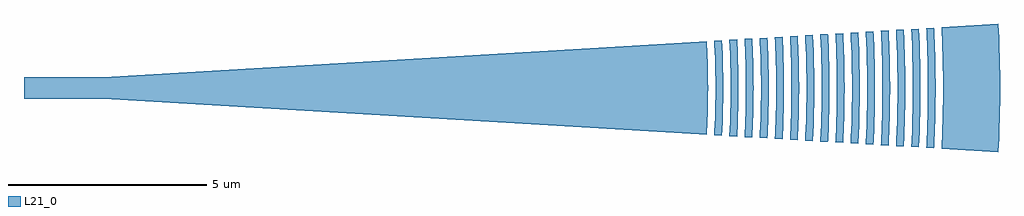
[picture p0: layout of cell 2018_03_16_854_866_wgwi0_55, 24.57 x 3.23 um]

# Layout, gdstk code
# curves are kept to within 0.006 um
import gdstk
lib = gdstk.Library(unit=1e-6, precision=1e-09)
def P(c, l, *ps):  # polygons
    for p in ps: c.add(gdstk.Polygon(p, *l))
L21_0 = (21, 0)

arc_gapfill_2 = lib.new_cell('arc_gapfill_2')

arc_gapfill_20 = lib.new_cell('arc_gapfill_20')

taper_1 = lib.new_cell('taper_1')

taper_19 = lib.new_cell('taper_19')

arc_10 = lib.new_cell('arc_10')

arc_11 = lib.new_cell('arc_11')

arc_12 = lib.new_cell('arc_12')

arc_13 = lib.new_cell('arc_13')

arc_14 = lib.new_cell('arc_14')

arc_15 = lib.new_cell('arc_15')

arc_16 = lib.new_cell('arc_16')

arc_17 = lib.new_cell('arc_17')

arc_18 = lib.new_cell('arc_18')

arc_3 = lib.new_cell('arc_3')

arc_4 = lib.new_cell('arc_4')

arc_5 = lib.new_cell('arc_5')

arc_6 = lib.new_cell('arc_6')

arc_7 = lib.new_cell('arc_7')

arc_8 = lib.new_cell('arc_8')

arc_9 = lib.new_cell('arc_9')

focusing_coupler_5th_lin = lib.new_cell('focusing_coupler_5th_linrads_0')
focusing_coupler_5th_lin.add(gdstk.Reference(arc_gapfill_2, (15,0)))
focusing_coupler_5th_lin.add(gdstk.Reference(arc_gapfill_20, (22.532,0)))
focusing_coupler_5th_lin.add(gdstk.Reference(taper_1, (0,0)))
focusing_coupler_5th_lin.add(gdstk.Reference(taper_19, (0,0)))
focusing_coupler_5th_lin.add(gdstk.Reference(arc_10, (17.737,0)))
focusing_coupler_5th_lin.add(gdstk.Reference(arc_11, (18.119,0)))
focusing_coupler_5th_lin.add(gdstk.Reference(arc_12, (18.501,0)))
focusing_coupler_5th_lin.add(gdstk.Reference(arc_13, (18.883,0)))
focusing_coupler_5th_lin.add(gdstk.Reference(arc_14, (19.266,0)))
focusing_coupler_5th_lin.add(gdstk.Reference(arc_15, (19.648,0)))
focusing_coupler_5th_lin.add(gdstk.Reference(arc_16, (20.03,0)))
focusing_coupler_5th_lin.add(gdstk.Reference(arc_17, (20.412,0)))
focusing_coupler_5th_lin.add(gdstk.Reference(arc_18, (20.794,0)))
focusing_coupler_5th_lin.add(gdstk.Reference(arc_3, (15.059,0)))
focusing_coupler_5th_lin.add(gdstk.Reference(arc_4, (15.441,0)))
focusing_coupler_5th_lin.add(gdstk.Reference(arc_5, (15.824,0)))
focusing_coupler_5th_lin.add(gdstk.Reference(arc_6, (16.207,0)))
focusing_coupler_5th_lin.add(gdstk.Reference(arc_7, (16.589,0)))
focusing_coupler_5th_lin.add(gdstk.Reference(arc_8, (16.972,0)))
focusing_coupler_5th_lin.add(gdstk.Reference(arc_9, (17.354,0)))

c_2018_03_16_854_866_wgwi0 = lib.new_cell('2018_03_16_854_866_wgwi0_55')
P(c_2018_03_16_854_866_wgwi0, L21_0, [(-2,0.275),(0,0.275),(15.191,1.177),(15.212,0.7),(15.223,0.075),(15.215,-0.592),(15.191,-1.177),(0,-0.275),(-2,-0.275)],
  [(15.383,-1.152),(15.406,-0.592),(15.414,0.075),(15.403,0.7),(15.381,1.189),(15.572,1.2),(15.597,0.576),(15.604,0.12),(15.597,-0.576),(15.572,-1.2),(15.381,-1.189)],
  [(15.763,-1.206),(15.788,-0.576),(15.795,-0.12),(15.788,0.576),(15.763,1.211),(15.954,1.223),(15.986,0.165),(15.979,-0.582),(15.954,-1.223)],
  [(16.149,-1.13),(16.174,-0.406),(16.177,0.165),(16.163,0.823),(16.144,1.234),(16.335,1.245),(16.36,0.654),(16.369,0.055),(16.36,-0.654),(16.338,-1.207),(16.335,-1.245),(16.144,-1.234)],
  [(16.527,-1.23),(16.551,-0.654),(16.56,0.055),(16.551,0.654),(16.526,1.257),(16.717,1.268),(16.742,0.637),(16.75,0.145),(16.742,-0.637),(16.717,-1.268),(16.526,-1.257)],
  [(16.913,-1.152),(16.937,-0.458),(16.941,0.145),(16.929,0.772),(16.907,1.28),(17.098,1.291),(17.122,0.734),(17.132,0.214),(17.129,-0.44),(17.101,-1.253),(17.098,-1.291),(16.907,-1.28)],
  [(17.29,-1.275),(17.318,-0.531),(17.323,0.214),(17.313,0.734),(17.289,1.302),(17.48,1.314),(17.504,0.718),(17.514,0.148),(17.506,-0.649),(17.48,-1.314),(17.289,-1.302)],
  [(17.675,-1.219),(17.7,-0.513),(17.705,0.148),(17.691,0.854),(17.67,1.325),(17.862,1.336),(17.888,0.678),(17.897,0.057),(17.888,-0.678),(17.862,-1.336),(17.67,-1.325)],
  [(18.052,-1.345),(18.079,-0.678),(18.088,-0.057),(18.079,0.678),(18.052,1.348),(18.243,1.359),(18.265,0.847),(18.278,0.174),(18.272,-0.592),(18.243,-1.359)],
  [(18.436,-1.311),(18.463,-0.592),(18.469,0.174),(18.456,0.847),(18.433,1.37),(18.625,1.382),(18.652,0.667),(18.66,0.129),(18.652,-0.667),(18.625,-1.382),(18.433,-1.37)],
  [(18.82,-1.276),(18.843,-0.667),(18.851,0.129),(18.841,0.738),(18.815,1.393),(19.005,1.404),(19.033,0.697),(19.042,0.035),(19.033,-0.697),(19.007,-1.382),(19.005,-1.404),(18.815,-1.393)],
  [(19.196,-1.406),(19.224,-0.697),(19.233,-0.035),(19.224,0.697),(19.196,1.416),(19.388,1.427),(19.414,0.775),(19.424,0.203),(19.417,-0.655),(19.388,-1.427),(19.196,-1.416)],
  [(19.58,-1.394),(19.608,-0.655),(19.615,0.203),(19.605,0.775),(19.578,1.438),(19.769,1.45),(19.795,0.806),(19.806,0.156),(19.797,-0.733),(19.769,-1.45),(19.578,-1.438)],
  [(19.96,-1.455),(19.986,-0.806),(19.997,-0.156),(19.988,0.733),(19.96,1.461),(20.151,1.472),(20.174,0.91),(20.188,0.133),(20.18,-0.691),(20.151,-1.472)],
  [(20.342,-1.467),(20.371,-0.691),(20.379,0.133),(20.365,0.91),(20.341,1.484),(20.531,1.495),(20.558,0.844),(20.57,0.086),(20.563,-0.648),(20.534,-1.456),(20.531,-1.495),(20.341,-1.484)],
  [(20.723,-1.48),(20.754,-0.648),(20.761,0.086),(20.749,0.844),(20.722,1.506),(20.913,1.518),(20.943,0.728),(20.952,0.037),(20.943,-0.728),(20.913,-1.518),(20.722,-1.506)],
  [(21.105,-1.493),(21.134,-0.728),(21.143,0.037),(21.134,0.728),(21.104,1.529),(22.532,1.614),(22.556,1.087),(22.575,0.231),(22.568,-0.692),(22.532,-1.614),(21.104,-1.529)])
c_2018_03_16_854_866_wgwi0.add(gdstk.Reference(focusing_coupler_5th_lin, (0,0)))

lib.write_gds('2018_03_16_854_866_wgwi0_55.gds')
